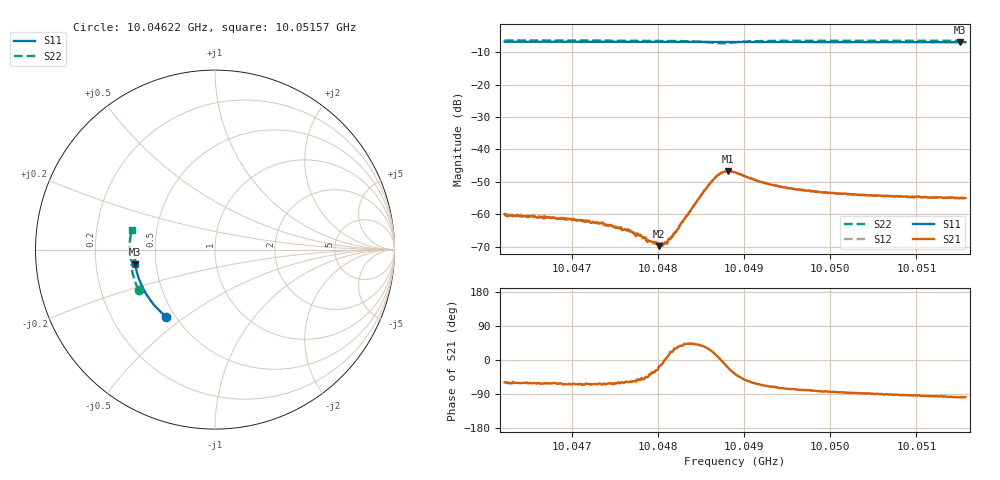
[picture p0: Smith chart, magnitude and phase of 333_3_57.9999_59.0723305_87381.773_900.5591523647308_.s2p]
#  HZ  S  RI  R  50.00
! Rohde & Schwarz Vector Network Analyzer
! Rohde-Schwarz,ZNB20-2Port,1311601062101988,3.16
! Created: UTC 3/21/2024, 1:05:12 AM
! freq[Hz]  re:S11  im:S11  re:S21  im:S21  re:S12  im:S12  re:S22  im:S22
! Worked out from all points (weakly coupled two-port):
!   401 points, 10.04622 GHz to 10.05157 GHz, reference 50 ohm
!   highest |S21| = -46.71 dB at 10.04881 GHz (marker M1); lowest = -69.8 dB at 10.04801 GHz (marker M2)
!   lowest |S11| = -6.9 dB at 10.0515 GHz (marker M3), VSWR 2.65, Z = 19 - j3.95 ohm
!   |S11| at or under -10 dB: nowhere
!   |S22| runs from -7.2 to -6.4 dB; largest |S21 - S12| = 0.00034
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1.004622e10  -0.2706 -0.3739  0.00052 -0.000863  0.000534 -0.000833  -0.4256 -0.2243
1.0046702e10  -0.2952 -0.3534  0.000413 -0.000779  0.000499 -0.000759  -0.4389 -0.195
1.0047116e10  -0.3151 -0.3346  0.000321 -0.000716  0.000408 -0.000703  -0.4488 -0.1685
1.004733e10  -0.3247 -0.3245  0.000335 -0.000637  0.00036 -0.00063  -0.4533 -0.1543
1.0047544e10  -0.3343 -0.3139  0.000318 -0.000523  0.000316 -0.000547  -0.4572 -0.1401
1.0047651e10  -0.3389 -0.3087  0.000314 -0.000496  0.000324 -0.000462  -0.4589 -0.1327
1.0047825e10  -0.3462 -0.2999  0.000266 -0.000332  0.000304 -0.00032  -0.4615 -0.12
1.0047891e10  -0.3492 -0.2964  0.000286 -0.000263  0.000315 -0.000226  -0.4623 -0.115
1.0048012e10  -0.3539 -0.2901  0.000309 -9.14e-05  0.000347 -9.37e-05  -0.4635 -0.1058
1.0048039e10  -0.3549 -0.2887  0.000336 -7.57e-05  0.000344 -4.34e-05  -0.4637 -0.104
1.0048092e10  -0.3571 -0.2859  0.000354 1.95e-05  0.00037 4.66e-05  -0.464 -0.0995
1.0048172e10  -0.3603 -0.2817  0.000433 0.000179  0.000389 0.000223  -0.4642 -0.093
1.004848e10  -0.372 -0.2652  0.00138 0.00112  0.00128 0.00126  -0.4569 -0.0652
1.004864e10  -0.3775 -0.2563  0.0032 0.00117  0.00315 0.00138  -0.4405 -0.0574
1.0048734e10  -0.3806 -0.2511  0.00434 -6.34e-05  0.00437 0.000214  -0.4319 -0.0648
1.0048814e10  -0.3833 -0.2468  0.00433 -0.00162  0.00446 -0.00137  -0.4346 -0.0747
1.0048894e10  -0.3861 -0.2425  0.00353 -0.00263  0.00375 -0.00244  -0.4444 -0.078
1.0049295e10  -0.399 -0.2194  0.000997 -0.00272  0.00117 -0.00269  -0.4705 -0.0491
1.004979e10  -0.4131 -0.1899  0.000374 -0.00223  0.000503 -0.00222  -0.476 -0.0114
1.0050685e10  -0.4327 -0.1347  -5.13e-05 -0.00191  8.45e-05 -0.00192  -0.4739 0.0507
1.0051501e10  -0.4444 -0.0826  -0.000269 -0.00176  -0.000154 -0.00178  -0.4646 0.1044
1.0051568e10  -0.4453 -0.0783  -0.000243 -0.00177  -0.000181 -0.00176  -0.4636 0.1087
